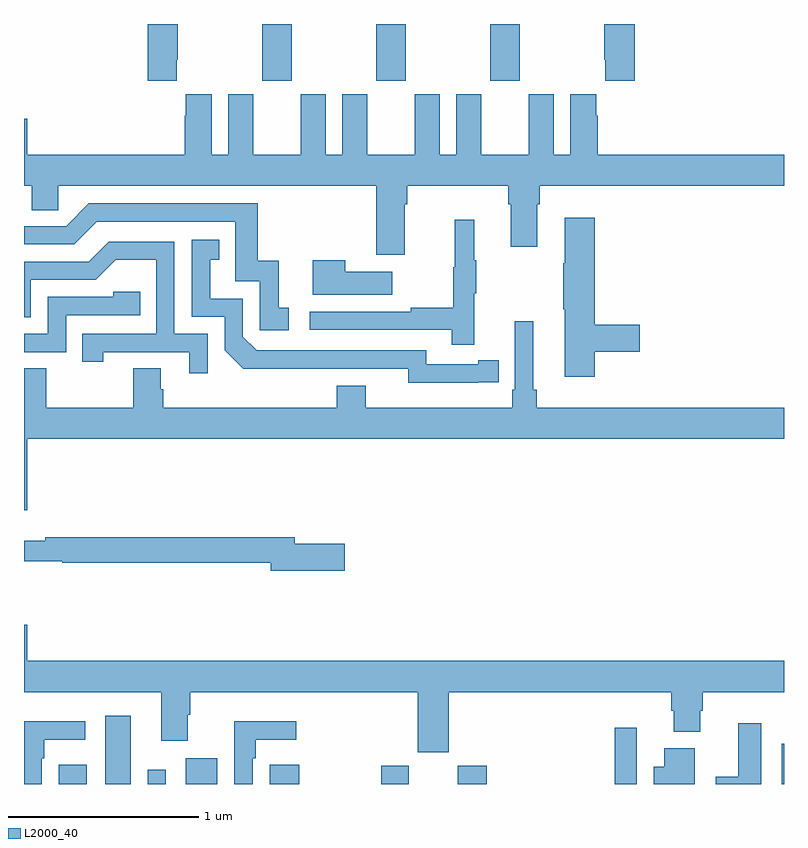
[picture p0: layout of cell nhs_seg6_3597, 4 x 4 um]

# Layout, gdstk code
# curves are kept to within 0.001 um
import gdstk
lib = gdstk.Library(unit=1e-6, precision=1e-09)
def R(c, l, rs):  # rectangles x0, y0, x1, y1
    for r in rs: c.add(gdstk.rectangle(r[:2], r[2:], *l))
def A(c, l, x, y, w, h, nx, ny, dx, dy):  # array of equal rectangles
    R(c, l, [(x+i*dx, y+j*dy, x+i*dx+w, y+j*dy+h) for i in range(nx) for j in range(ny)])
def P(c, l, *ps):  # polygons
    for p in ps: c.add(gdstk.Polygon(p, *l))
L2000_40 = (2000, 40)

nhs_seg6_3597 = lib.new_cell('nhs_seg6_3597')
A(nhs_seg6_3597, L2000_40, 322.255, 969.201, 0.155, 0.299, 3, 1, 0.6, 0)
R(nhs_seg6_3597, L2000_40, [(321.182,965.5,321.331,965.602), (321.428,965.5,321.562,965.86), (321.651,965.5,321.747,965.575), (321.851,965.5,322.018,965.635), (322.293,965.5,322.449,965.602), (322.879,965.5,323.026,965.595), (323.282,965.5,323.435,965.595), (324.109,965.5,324.225,965.797), (324.987,965.5,325,965.713)])
P(nhs_seg6_3597, L2000_40, [(324.215,969.5),(324.055,969.5),(324.055,969.313),(324.059,969.313),(324.059,969.201),(324.215,969.201)],
  [(321.805,969.313),(321.81,969.313),(321.81,969.5),(321.65,969.5),(321.65,969.201),(321.805,969.201)],
  [(323.005,968.552),(323.018,968.552),(323.018,968.648),(323.549,968.648),(323.549,968.552),(323.561,968.552),(323.561,968.328),(323.701,968.328),(323.701,968.552),(323.714,968.552),(323.714,968.648),(325,968.648),(325,968.812),(324.02,968.812),(324.02,969.017),(324.013,969.017),(324.013,969.13),(323.876,969.13),(323.876,968.812),(323.788,968.812),(323.788,969.13),(323.657,969.13),(323.657,968.812),(323.407,968.812),(323.407,969.13),(323.276,969.13),(323.276,968.812),(323.188,968.812),(323.188,969.13),(323.057,969.13),(323.057,968.812),(322.807,968.812),(322.807,969.13),(322.676,969.13),(322.676,968.812),(322.588,968.812),(322.588,969.13),(322.457,969.13),(322.457,968.812),(322.207,968.812),(322.207,969.13),(322.076,969.13),(322.076,968.812),(321.988,968.812),(321.988,969.13),(321.851,969.13),(321.851,969.017),(321.845,969.017),(321.845,968.812),(321.016,968.812),(321.016,969.001),(321,969.001),(321,968.648),(321.041,968.648),(321.041,968.521),(321.18,968.521),(321.18,968.648),(322.853,968.648),(322.853,968.286),(323.005,968.286)],
  [(322.393,968.007),(322.34,968.007),(322.34,968.254),(322.229,968.254),(322.229,968.556),(321.342,968.556),(321.222,968.436),(321,968.436),(321,968.34),(321.264,968.34),(321.384,968.46),(322.113,968.46),(322.113,968.145),(322.242,968.145),(322.242,967.887),(322.393,967.887)],
  [(324.005,967.774),(324.241,967.774),(324.241,967.916),(324.005,967.916),(324.005,968.479),(323.846,968.479),(323.846,968.24),(323.839,968.24),(323.839,967.999),(323.846,967.999),(323.846,967.644),(324.005,967.644)],
  [(323.369,968.083),(323.38,968.083),(323.38,968.257),(323.369,968.257),(323.369,968.47),(323.266,968.47),(323.266,968.22),(323.259,968.22),(323.259,968.006),(323.035,968.006),(323.035,967.986),(322.503,967.986),(322.503,967.89),(323.251,967.89),(323.251,967.812),(323.369,967.812)],
  [(323.39,967.614),(323.498,967.614),(323.498,967.73),(323.39,967.73),(323.39,967.71),(323.118,967.71),(323.118,967.782),(322.224,967.782),(322.152,967.854),(322.152,968.055),(321.979,968.055),(321.979,968.259),(322.028,968.259),(322.028,968.365),(321.882,968.365),(321.882,967.959),(322.056,967.959),(322.056,967.782),(322.154,967.685),(323.022,967.686),(323.022,967.613)],
  [(321.966,967.869),(321.792,967.869),(321.792,968.355),(321.446,968.355),(321.341,968.25),(321,968.25),(321,967.956),(321.036,967.956),(321.036,968.154),(321.378,968.154),(321.482,968.258),(321.696,968.258),(321.696,967.869),(321.307,967.869),(321.307,967.722),(321.418,967.722),(321.418,967.773),(321.869,967.773),(321.869,967.662),(321.966,967.662)],
  [(322.939,968.197),(322.691,968.197),(322.691,968.257),(322.52,968.257),(322.52,968.075),(322.939,968.075)],
  [(321.222,967.968),(321.611,967.968),(321.611,968.091),(321.471,968.091),(321.471,968.064),(321.126,968.064),(321.126,967.869),(321,967.869),(321,967.773),(321.222,967.773)],
  [(321.016,967.316),(325,967.316),(325,967.48),(323.699,967.48),(323.699,967.576),(323.68,967.576),(323.68,967.936),(323.583,967.936),(323.583,967.576),(323.57,967.576),(323.57,967.48),(322.798,967.48),(322.798,967.597),(322.646,967.597),(322.646,967.48),(321.734,967.48),(321.734,967.578),(321.721,967.578),(321.721,967.688),(321.574,967.688),(321.574,967.48),(321.117,967.48),(321.117,967.688),(321,967.688),(321,966.942),(321.016,966.942)],
  [(322.687,966.764),(322.426,966.764),(322.426,966.8),(321.112,966.8),(321.112,966.781),(321,966.781),(321,966.672),(321.202,966.672),(321.202,966.664),(322.298,966.664),(322.298,966.622),(322.687,966.622)],
  [(323.236,965.984),(324.407,965.984),(324.407,965.886),(324.419,965.886),(324.419,965.774),(324.559,965.774),(324.559,965.886),(324.572,965.886),(324.572,965.984),(325,965.984),(325,966.148),(321.016,966.148),(321.016,966.337),(321,966.337),(321,965.984),(321.722,965.984),(321.722,965.727),(321.862,965.727),(321.862,965.864),(321.875,965.864),(321.875,965.984),(323.072,965.984),(323.072,965.667),(323.236,965.667)],
  [(322.203,965.636),(322.219,965.636),(322.219,965.732),(322.432,965.732),(322.432,965.83),(322.107,965.83),(322.107,965.5),(322.203,965.5)],
  [(321.093,965.636),(321.106,965.636),(321.106,965.732),(321.322,965.732),(321.322,965.83),(321,965.83),(321,965.5),(321.093,965.5)],
  [(324.88,965.821),(324.758,965.821),(324.758,965.538),(324.641,965.538),(324.641,965.5),(324.88,965.5)],
  [(324.529,965.689),(324.371,965.689),(324.371,965.59),(324.314,965.59),(324.314,965.5),(324.529,965.5)])

lib.write_gds('nhs_seg6_3597.gds')
